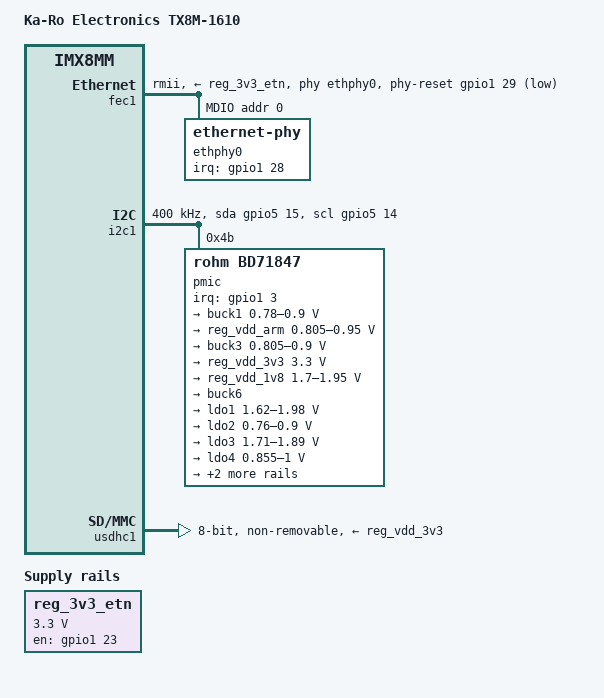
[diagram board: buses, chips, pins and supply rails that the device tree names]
// SPDX-License-Identifier: (GPL-2.0 OR MIT)
/*
 * Copyright (C) 2021 Lothar Waßmann <LW@KARO-electronics.de>
 * 2025 Maud Spierings <maudspierings@gocontroll.com>
 */

#include "imx8mm.dtsi"

/ {
	model = "Ka-Ro Electronics TX8M-1610";
	compatible = "karo,tx8m-1610", "fsl,imx8mm";

	reg_3v3_etn: regulator-3v3-etn {
		compatible = "regulator-fixed";
		enable-active-high;
		gpio = <&gpio1 23 GPIO_ACTIVE_HIGH>;
		pinctrl-0 = <&pinctrl_reg_3v3_etn>;
		pinctrl-names = "default";
		regulator-boot-on;
		regulator-max-microvolt = <3300000>;
		regulator-min-microvolt = <3300000>;
		regulator-name = "3v3-etn";
	};
};

&A53_0 {
	cpu-supply = <&reg_vdd_arm>;
};

&A53_1 {
	cpu-supply = <&reg_vdd_arm>;
};

&A53_2 {
	cpu-supply = <&reg_vdd_arm>;
};

&A53_3 {
	cpu-supply = <&reg_vdd_arm>;
};

&ddrc {
	operating-points-v2 = <&ddrc_opp_table>;

	ddrc_opp_table: opp-table {
		compatible = "operating-points-v2";

		opp-400000000 {
			opp-hz = /bits/ 64 <400000000>;
		};
	};
};

&fec1 {
	assigned-clocks = <&clk IMX8MM_CLK_ENET_AXI>,
			  <&clk IMX8MM_CLK_ENET_TIMER>,
			  <&clk IMX8MM_CLK_ENET_REF>,
			  <&clk IMX8MM_CLK_ENET_REF>;
	assigned-clock-parents = <&clk IMX8MM_SYS_PLL1_266M>,
				 <&clk IMX8MM_SYS_PLL2_100M>,
				 <&clk IMX8MM_SYS_PLL2_50M>,
				 <&clk IMX8MM_SYS_PLL2_50M>;
	assigned-clock-rates = <0>, <100000000>, <50000000>, <50000000>;
	clocks = <&clk IMX8MM_CLK_ENET1_ROOT>,
		 <&clk IMX8MM_CLK_ENET1_ROOT>,
		 <&clk IMX8MM_CLK_ENET_TIMER>,
		 <&clk IMX8MM_CLK_ENET_REF>;
	phy-handle = <&ethphy0>;
	phy-mode = "rmii";
	phy-reset-duration = <25>;
	phy-reset-gpios = <&gpio1 29 GPIO_ACTIVE_LOW>;
	phy-reset-post-delay = <1>;
	phy-supply = <&reg_3v3_etn>;
	pinctrl-0 = <&pinctrl_fec1>, <&pinctrl_ethphy_rst>;
	pinctrl-names = "default";
	status = "okay";

	mdio {
		#address-cells = <1>;
		#size-cells = <0>;

		ethphy0: ethernet-phy@0 {
			reg = <0>;
			clocks = <&clk IMX8MM_CLK_ENET_REF>;
			interrupt-parent = <&gpio1>;
			interrupts = <28 IRQ_TYPE_EDGE_FALLING>;
			pinctrl-0 = <&pinctrl_ethphy_int>;
			pinctrl-names = "default";
			smsc,disable-energy-detect;
		};
	};
};

&gpio1 {
	gpio-line-names = "SODIMM_152", "SODIMM_42", "SODIMM_153", "PMIC_IRQ_B",
			  "SODIMM_154", "SODIMM_155", "SODIMM_156", "SODIMM_157",
			  "SODIMM_158", "SODIMM_159", "SODIMM_161", "SODIMM_162",
			  "SODIMM_34", "SODIMM_36", "SODIMM_27", "SODIMM_28",
			  "", "", "", "",
			  "", "", "", "ENET_POWER",
			  "", "", "", "",
			  "ENET_nINT", "ENET_nRST", "", "";
};

&gpio2 {
	gpio-line-names = "", "", "", "",
			  "", "", "", "",
			  "", "", "", "",
			  "SODIMM_51", "SODIMM_57", "SODIMM_56", "SODIMM_52",
			  "SODIMM_53", "SODIMM_54", "SODIMM_55", "SODIMM_15",
			  "SODIMM_45", "", "", "",
			  "", "", "", "",
			  "", "", "", "";
};

&gpio3 {
	gpio-line-names = "SODIMM_103", "SODIMM_104", "SODIMM_105", "SODIMM_106",
			  "SODIMM_107", "SODIMM_112", "SODIMM_108", "SODIMM_109",
			  "SODIMM_95", "SODIMM_110", "SODIMM_96", "SODIMM_97",
			  "SODIMM_98", "SODIMM_99", "SODIMM_113", "SODIMM_114",
			  "SODIMM_115", "SODIMM_101", "SODIMM_100", "SODIMM_77",
			  "SODIMM_72", "SODIMM_73", "SODIMM_74", "SODIMM_75",
			  "SODIMM_76", "SODIMM_43", "", "",
			  "", "", "", "";
};

&gpio4 {
	gpio-line-names = "SODIMM_178", "SODIMM_180", "SODIMM_184", "SODIMM_185",
			  "SODIMM_186", "SODIMM_187", "SODIMM_188", "SODIMM_189",
			  "SODIMM_190", "SODIMM_191", "SODIMM_179", "SODIMM_181",
			  "SODIMM_192", "SODIMM_193", "SODIMM_194", "SODIMM_195",
			  "SODIMM_196", "SODIMM_197", "SODIMM_198", "SODIMM_199",
			  "SODIMM_182", "SODIMM_79", "SODIMM_78", "SODIMM_84",
			  "SODIMM_87", "SODIMM_86", "SODIMM_85", "SODIMM_83",
			  "SODIMM_81", "SODIMM_80", "SODIMM_90", "SODIMM_93";
};

&gpio5 {
	gpio-line-names = "SODIMM_92", "SODIMM_91", "SODIMM_89", "SODIMM_144",
			  "SODIMM_143", "SODIMM_146", "SODIMM_68", "SODIMM_67",
			  "SODIMM_70", "SODIMM_69", "SODIMM_48", "SODIMM_46",
			  "SODIMM_47", "SODIMM_44", "PMIC_SCL", "PMIC_SDA",
			  "SODIMM_41", "SODIMM_40", "SODIMM_148", "SODIMM_149",
			  "SODIMM_150", "SODIMM_151", "SODIMM_60", "SODIMM_59",
			  "SODIMM_64", "SODIMM_63", "SODIMM_62", "SODIMM_61",
			  "SODIMM_66", "SODIMM_65", "", "";
};

&i2c1 {
	clock-frequency = <400000>;
	pinctrl-0 = <&pinctrl_i2c1>;
	pinctrl-1 = <&pinctrl_i2c1_gpio>;
	pinctrl-names = "default", "gpio";
	scl-gpios = <&gpio5 14 (GPIO_ACTIVE_HIGH | GPIO_OPEN_DRAIN)>;
	sda-gpios = <&gpio5 15 (GPIO_ACTIVE_HIGH | GPIO_OPEN_DRAIN)>;
	status = "okay";

	pmic: pmic@4b {
		compatible = "rohm,bd71847";
		reg = <0x4b>;
		interrupt-parent = <&gpio1>;
		interrupts = <3 IRQ_TYPE_LEVEL_LOW>;
		pinctrl-0 = <&pinctrl_pmic>;
		pinctrl-names = "default";
		rohm,reset-snvs-powered;

		regulators {
			BUCK1 {
				regulator-always-on;
				regulator-boot-on;
				regulator-max-microvolt = <900000>;
				regulator-min-microvolt = <780000>;
				regulator-name = "buck1";
				regulator-ramp-delay = <1250>;
			};

			reg_vdd_arm: BUCK2 {
				regulator-always-on;
				regulator-boot-on;
				regulator-max-microvolt = <950000>;
				regulator-min-microvolt = <805000>;
				regulator-name = "buck2";
				regulator-ramp-delay = <1250>;
				rohm,dvs-run-voltage = <950000>;
				rohm,dvs-idle-voltage = <810000>;
			};

			BUCK3 {
				regulator-always-on;
				regulator-boot-on;
				regulator-max-microvolt = <900000>;
				regulator-min-microvolt = <805000>;
				regulator-name = "buck3";
			};

			reg_vdd_3v3: BUCK4 {
				regulator-always-on;
				regulator-boot-on;
				regulator-max-microvolt = <3300000>;
				regulator-min-microvolt = <3300000>;
				regulator-name = "buck4";
			};

			reg_vdd_1v8: BUCK5 {
				regulator-always-on;
				regulator-boot-on;
				regulator-max-microvolt = <1950000>;
				regulator-min-microvolt = <1700000>;
				regulator-name = "buck5";
			};

			BUCK6 {
				regulator-always-on;
				regulator-boot-on;
				regulator-max-microvolt = <(1350000 + 100000)>;
				regulator-min-microvolt = <(1350000 - 67000)>;
				regulator-name = "buck6";
				rohm,fb-pull-up-microvolt = <0>;
				rohm,feedback-pull-up-r1-ohms = <2200>;
				rohm,feedback-pull-up-r2-ohms = <499>;
			};

			LDO1 {
				regulator-always-on;
				regulator-boot-on;
				regulator-max-microvolt = <1980000>;
				regulator-min-microvolt = <1620000>;
				regulator-name = "ldo1";
			};

			LDO2 {
				regulator-always-on;
				regulator-boot-on;
				regulator-max-microvolt = <900000>;
				regulator-min-microvolt = <760000>;
				regulator-name = "ldo2";
			};

			LDO3 {
				regulator-always-on;
				regulator-boot-on;
				regulator-max-microvolt = <1890000>;
				regulator-min-microvolt = <1710000>;
				regulator-name = "ldo3";
			};

			LDO4 {
				regulator-always-on;
				regulator-boot-on;
				regulator-max-microvolt = <1000000>;
				regulator-min-microvolt = <855000>;
				regulator-name = "ldo4";
			};

			LDO5 {
				regulator-max-microvolt = <3300000>;
				regulator-min-microvolt = <1800000>;
				regulator-name = "ldo5";
			};

			LDO6 {
				regulator-always-on;
				regulator-boot-on;
				regulator-max-microvolt = <1260000>;
				regulator-min-microvolt = <1140000>;
				regulator-name = "ldo6";
			};
		};
	};
};

&iomuxc {
	pinctrl_ethphy_int: etnphy-intgrp {
		fsl,pins = <
			MX8MM_IOMUXC_ENET_RD2_GPIO1_IO28
				(MX8MM_FSEL_FAST | MX8MM_HYS_SCHMITT)
		>;
	};

	pinctrl_ethphy_rst: etnphy-rstgrp {
		fsl,pins = <
			MX8MM_IOMUXC_ENET_RD3_GPIO1_IO29
				(MX8MM_PULL_UP | MX8MM_PULL_ENABLE)
		>;
	};

	pinctrl_fec1: fec1grp {
		fsl,pins = <
			MX8MM_IOMUXC_ENET_MDC_ENET1_MDC
				(MX8MM_DSE_X4 | MX8MM_PULL_UP | MX8MM_PULL_ENABLE)
			MX8MM_IOMUXC_ENET_MDIO_ENET1_MDIO
				(MX8MM_DSE_X4 | MX8MM_PULL_UP | MX8MM_PULL_ENABLE)
			MX8MM_IOMUXC_ENET_TD2_ENET1_TX_CLK
				(MX8MM_FSEL_FAST | MX8MM_SION)
			MX8MM_IOMUXC_ENET_TD0_ENET1_RGMII_TD0
				(MX8MM_DSE_X6 | MX8MM_FSEL_FAST)
			MX8MM_IOMUXC_ENET_TD1_ENET1_RGMII_TD1
				(MX8MM_DSE_X6 | MX8MM_FSEL_FAST)
			MX8MM_IOMUXC_ENET_RD0_ENET1_RGMII_RD0
				(MX8MM_FSEL_FAST | MX8MM_HYS_SCHMITT)
			MX8MM_IOMUXC_ENET_RD1_ENET1_RGMII_RD1
				(MX8MM_FSEL_FAST | MX8MM_HYS_SCHMITT)
			MX8MM_IOMUXC_ENET_RXC_ENET1_RX_ER
				MX8MM_FSEL_FAST
			MX8MM_IOMUXC_ENET_RX_CTL_ENET1_RGMII_RX_CTL
				MX8MM_FSEL_FAST
			MX8MM_IOMUXC_ENET_TX_CTL_ENET1_RGMII_TX_CTL
				(MX8MM_DSE_X6 | MX8MM_FSEL_FAST)
		>;
	};

	pinctrl_i2c1: i2c1grp {
		fsl,pins = <
			MX8MM_IOMUXC_I2C1_SCL_I2C1_SCL
				MX8MM_I2C_DEFAULT
			MX8MM_IOMUXC_I2C1_SDA_I2C1_SDA
				MX8MM_I2C_DEFAULT
		>;
	};

	pinctrl_i2c1_gpio: i2c1-gpiogrp {
		fsl,pins = <
			MX8MM_IOMUXC_I2C1_SCL_GPIO5_IO14
				MX8MM_I2C_DEFAULT
			MX8MM_IOMUXC_I2C1_SDA_GPIO5_IO15
				MX8MM_I2C_DEFAULT
		>;
	};

	pinctrl_pmic: pmicgrp {
		fsl,pins = <
			MX8MM_IOMUXC_GPIO1_IO03_GPIO1_IO3
				(MX8MM_PULL_UP | MX8MM_HYS_SCHMITT | MX8MM_PULL_ENABLE)
		>;
	};

	pinctrl_reg_3v3_etn: reg-3v3-etngrp {
		fsl,pins = <
			MX8MM_IOMUXC_ENET_TXC_GPIO1_IO23
				(MX8MM_DSE_X4 | MX8MM_PULL_UP | MX8MM_PULL_ENABLE)
		>;
	};

	pinctrl_usdhc1: usdhc1grp {
		fsl,pins = <
			MX8MM_IOMUXC_SD1_CLK_USDHC1_CLK
				(MX8MM_FSEL_FAST | MX8MM_HYS_SCHMITT | MX8MM_PULL_ENABLE)
			MX8MM_IOMUXC_SD1_CMD_USDHC1_CMD
				MX8MM_USDHC_DATA_DEFAULT
			MX8MM_IOMUXC_SD1_DATA0_USDHC1_DATA0
				MX8MM_USDHC_DATA_DEFAULT
			MX8MM_IOMUXC_SD1_DATA1_USDHC1_DATA1
				MX8MM_USDHC_DATA_DEFAULT
			MX8MM_IOMUXC_SD1_DATA2_USDHC1_DATA2
				MX8MM_USDHC_DATA_DEFAULT
			MX8MM_IOMUXC_SD1_DATA3_USDHC1_DATA3
				MX8MM_USDHC_DATA_DEFAULT
			MX8MM_IOMUXC_SD1_DATA4_USDHC1_DATA4
				MX8MM_USDHC_DATA_DEFAULT
			MX8MM_IOMUXC_SD1_DATA5_USDHC1_DATA5
				MX8MM_USDHC_DATA_DEFAULT
			MX8MM_IOMUXC_SD1_DATA6_USDHC1_DATA6
				MX8MM_USDHC_DATA_DEFAULT
			MX8MM_IOMUXC_SD1_DATA7_USDHC1_DATA7
				MX8MM_USDHC_DATA_DEFAULT
			MX8MM_IOMUXC_SD1_STROBE_USDHC1_STROBE
				(MX8MM_FSEL_FAST | MX8MM_HYS_SCHMITT | MX8MM_PULL_ENABLE)
			MX8MM_IOMUXC_SD1_RESET_B_USDHC1_RESET_B
				(MX8MM_DSE_X6 | MX8MM_FSEL_FAST | MX8MM_PULL_UP | MX8MM_PULL_ENABLE)
		>;
	};

	pinctrl_usdhc1_100mhz: usdhc1-100mhzgrp {
		fsl,pins = <
			MX8MM_IOMUXC_SD1_CLK_USDHC1_CLK
				(MX8MM_DSE_X2 | MX8MM_FSEL_FAST | MX8MM_HYS_SCHMITT | MX8MM_PULL_ENABLE)
			MX8MM_IOMUXC_SD1_CMD_USDHC1_CMD
				(MX8MM_DSE_X2 | MX8MM_USDHC_DATA_DEFAULT)
			MX8MM_IOMUXC_SD1_DATA0_USDHC1_DATA0
				(MX8MM_DSE_X2 | MX8MM_USDHC_DATA_DEFAULT)
			MX8MM_IOMUXC_SD1_DATA1_USDHC1_DATA1
				(MX8MM_DSE_X2 | MX8MM_USDHC_DATA_DEFAULT)
			MX8MM_IOMUXC_SD1_DATA2_USDHC1_DATA2
				(MX8MM_DSE_X2 | MX8MM_USDHC_DATA_DEFAULT)
			MX8MM_IOMUXC_SD1_DATA3_USDHC1_DATA3
				(MX8MM_DSE_X2 | MX8MM_USDHC_DATA_DEFAULT)
			MX8MM_IOMUXC_SD1_DATA4_USDHC1_DATA4
				(MX8MM_DSE_X2 | MX8MM_USDHC_DATA_DEFAULT)
			MX8MM_IOMUXC_SD1_DATA5_USDHC1_DATA5
				(MX8MM_DSE_X2 | MX8MM_USDHC_DATA_DEFAULT)
			MX8MM_IOMUXC_SD1_DATA6_USDHC1_DATA6
				(MX8MM_DSE_X2 | MX8MM_USDHC_DATA_DEFAULT)
			MX8MM_IOMUXC_SD1_DATA7_USDHC1_DATA7
				(MX8MM_DSE_X2 | MX8MM_USDHC_DATA_DEFAULT)
			MX8MM_IOMUXC_SD1_STROBE_USDHC1_STROBE
				(MX8MM_DSE_X2 | MX8MM_FSEL_FAST | MX8MM_HYS_SCHMITT | MX8MM_PULL_ENABLE)
			MX8MM_IOMUXC_SD1_RESET_B_USDHC1_RESET_B
				(MX8MM_DSE_X6 | MX8MM_FSEL_FAST | MX8MM_PULL_UP | MX8MM_PULL_ENABLE)
		>;
	};

	pinctrl_usdhc1_200mhz: usdhc1-200mhzgrp {
		fsl,pins = <
			MX8MM_IOMUXC_SD1_CLK_USDHC1_CLK
				(MX8MM_DSE_X6 | MX8MM_FSEL_FAST | MX8MM_HYS_SCHMITT | MX8MM_PULL_ENABLE)
			MX8MM_IOMUXC_SD1_CMD_USDHC1_CMD
				(MX8MM_DSE_X6 | MX8MM_USDHC_DATA_DEFAULT)
			MX8MM_IOMUXC_SD1_DATA0_USDHC1_DATA0
				(MX8MM_DSE_X6 | MX8MM_USDHC_DATA_DEFAULT)
			MX8MM_IOMUXC_SD1_DATA1_USDHC1_DATA1
				(MX8MM_DSE_X6 | MX8MM_USDHC_DATA_DEFAULT)
			MX8MM_IOMUXC_SD1_DATA2_USDHC1_DATA2
				(MX8MM_DSE_X6 | MX8MM_USDHC_DATA_DEFAULT)
			MX8MM_IOMUXC_SD1_DATA3_USDHC1_DATA3
				(MX8MM_DSE_X6 | MX8MM_USDHC_DATA_DEFAULT)
			MX8MM_IOMUXC_SD1_DATA4_USDHC1_DATA4
				(MX8MM_DSE_X6 | MX8MM_USDHC_DATA_DEFAULT)
			MX8MM_IOMUXC_SD1_DATA5_USDHC1_DATA5
				(MX8MM_DSE_X6 | MX8MM_USDHC_DATA_DEFAULT)
			MX8MM_IOMUXC_SD1_DATA6_USDHC1_DATA6
				(MX8MM_DSE_X6 | MX8MM_USDHC_DATA_DEFAULT)
			MX8MM_IOMUXC_SD1_DATA7_USDHC1_DATA7
				(MX8MM_DSE_X6 | MX8MM_USDHC_DATA_DEFAULT)
			MX8MM_IOMUXC_SD1_STROBE_USDHC1_STROBE
				(MX8MM_DSE_X6 | MX8MM_FSEL_FAST | MX8MM_HYS_SCHMITT | MX8MM_PULL_ENABLE)
			MX8MM_IOMUXC_SD1_RESET_B_USDHC1_RESET_B
				(MX8MM_DSE_X6 | MX8MM_FSEL_FAST | MX8MM_PULL_UP | MX8MM_PULL_ENABLE)
		>;
	};
};

&usdhc1 {
	assigned-clocks = <&clk IMX8MM_CLK_USDHC1>;
	assigned-clock-rates = <400000000>;
	bus-width = <8>;
	non-removable;
	pinctrl-0 = <&pinctrl_usdhc1>;
	pinctrl-1 = <&pinctrl_usdhc1_100mhz>;
	pinctrl-2 = <&pinctrl_usdhc1_200mhz>;
	pinctrl-names = "default", "state_100mhz", "state_200mhz";
	vmmc-supply = <&reg_vdd_3v3>;
	vqmmc-supply = <&reg_vdd_1v8>;
	status = "okay";
};
